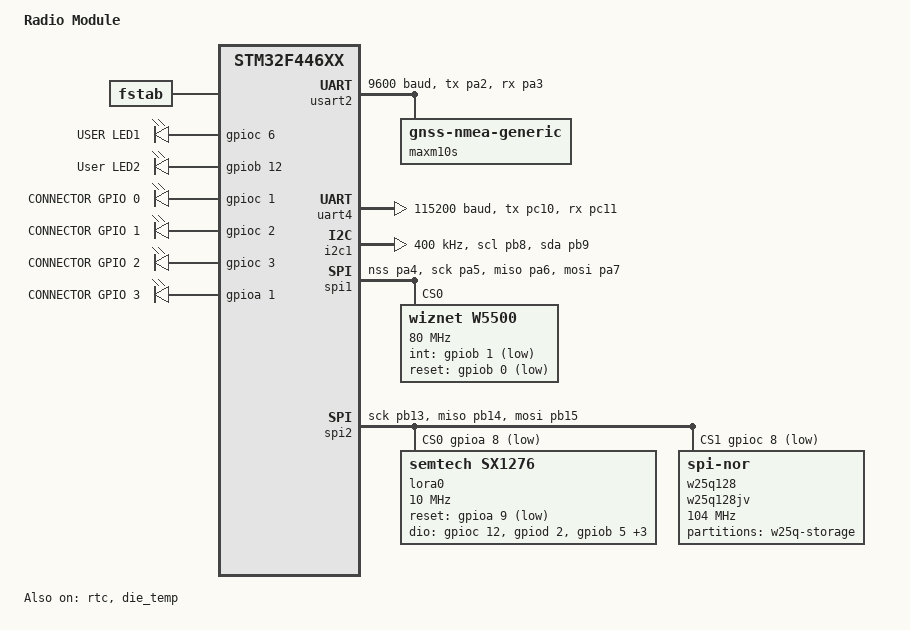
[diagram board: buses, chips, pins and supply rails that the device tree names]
/*
 * Copyright (c) 2018 Philémon Jaermann
 *
 * SPDX-License-Identifier: Apache-2.0
 */

/dts-v1/;
#include <st/f4/stm32f446Xe.dtsi>
#include <st/f4/stm32f446r(c-e)tx-pinctrl.dtsi>
#include <zephyr/dt-bindings/input/input-event-codes.h>
#include "radio_module-pinctrl.dtsi"

/ {
    model = "Radio Module";
    compatible = "st,stm32f446xx";

    chosen {
        zephyr,console = &uart4;
        zephyr,shell-uart = &uart4;

        zephyr,sram = &sram0;
        zephyr,flash = &flash0;

        storage = &w25q128;
        logfs = &lfs1;
        rtc = &rtc;
    };

    fstab {
        compatible = "zephyr,fstab";

        lfs1: lfs1 {
            compatible = "zephyr,fstab,littlefs";
            mount-point = "/lfs";
            partition = <&external_storage_partition>;
            automount;

            read-size = <256>;
            prog-size = <256>;
            cache-size = <512>;
            lookahead-size = <128>;
            block-cycles = <(90 * 1000)>;
        };
    };

    leds: leds {
        compatible = "gpio-leds";

        red_led_1: led_1 {
            gpios = <&gpioc 6 GPIO_ACTIVE_HIGH>;
            label = "USER LED1";
        };

        red_led_2: led_2 {
            gpios = <&gpiob 12 GPIO_ACTIVE_HIGH>;
            label = "User LED2";
        };
    };

    connector: gpios {
        compatible = "gpio-leds";

        gpio_0: gpios_0 {
            gpios = <&gpioc 1 (GPIO_PULL_DOWN | GPIO_ACTIVE_HIGH)>;
            label = "CONNECTOR GPIO 0";
        };

        gpio_1: gpios_1 {
            gpios = <&gpioc 2 (GPIO_PULL_DOWN | GPIO_ACTIVE_HIGH)>;
            label = "CONNECTOR GPIO 1";
        };

        gpio_2: gpios_2 {
            gpios = <&gpioc 3 (GPIO_PULL_DOWN | GPIO_ACTIVE_HIGH)>;
            label = "CONNECTOR GPIO 2";
        };

        gpio_3: gpios_3 {
            gpios = <&gpioa 1 (GPIO_PULL_DOWN | GPIO_ACTIVE_HIGH)>;
            label = "CONNECTOR GPIO 3";
        };
    };

    aliases {
        led0 = &red_led_1;
        led1 = &red_led_2;

        gpio0 = &gpio_0;
        gpio1 = &gpio_1;
        gpio2 = &gpio_2;
        gpio3 = &gpio_3;

        dbguart = &uart4;
        ubxlib-usart2 = &usart2;

        lora = &lora0;
        gnss = &maxm10s;

		rtc = &rtc;
    };
};

&clk_lsi {
    status = "okay";
};

&clk_hsi {
    clock-frequency = <DT_FREQ_M(16)>;
    status = "okay";
};

//&pll {
//	div-m = <8>;
//	mul-n = <384>;
//	div-p = <2>;
//	div-q = <2>;
//	clocks = <&clk_hsi>;
//	status = "okay";
//};

&rcc {
    clocks = <&clk_hsi>;
    clock-frequency = <DT_FREQ_M(16)>;
    ahb-prescaler = <1>;
    apb1-prescaler = <2>;
    apb2-prescaler = <1>;
};

&usart2 {
    pinctrl-0 = <&usart2_tx_pa2 &usart2_rx_pa3>;
    pinctrl-names = "default";
    current-speed = <9600>;
    status = "okay";

    maxm10s: ublox-maxm10s {
        status = "okay";
        compatible = "gnss-nmea-generic";
    };
};

&uart4 {
    pinctrl-0 = <&uart4_tx_pc10 &uart4_rx_pc11>;
    pinctrl-names = "default";
    current-speed = <115200>;
    status = "okay";
};

&i2c1 {
    pinctrl-0 = <&i2c1_scl_pb8 &i2c1_sda_pb9>;
    pinctrl-names = "default";
    status = "okay";
    clock-frequency = <I2C_BITRATE_FAST>;
};

&dma1 {
	status = "okay";
};

&dma2 {
	status = "okay";
};

&spi1 {
    pinctrl-0 = <&spi1_nss_pa4 &spi1_sck_pa5
                 &spi1_miso_pa6 &spi1_mosi_pa7>;
    pinctrl-names = "default";
    status = "okay";


    w5500: w5500@0 {
        compatible = "wiznet,w5500";
        reg = <0x0>;
        spi-max-frequency = <DT_FREQ_M(80)>;
        int-gpios = <&gpiob 1 GPIO_ACTIVE_LOW>;
        reset-gpios = <&gpiob 0 GPIO_ACTIVE_LOW>;
        local-mac-address = [00 01 02 03 04 05];
    };
};


&spi2 {
    pinctrl-0 = <&spi2_sck_pb13 &spi2_miso_pb14 &spi2_mosi_pb15>;
    cs-gpios = <&gpioa 8 GPIO_ACTIVE_LOW
                &gpioc 8 GPIO_ACTIVE_LOW
               >;
    pinctrl-names = "default";
    status = "okay";

    // dma identifier
	// dma stream
	// dma channel
	// config flags
	dmas = <&dma1 4 0 (STM32_DMA_PERIPH_TX | STM32_DMA_PRIORITY_HIGH | STM32_DMA_OFFSET_FIXED_4 | STM32_DMA_PERIPH_8BITS | STM32_DMA_MEM_8BITS) 0x1>,
		   <&dma1 3 0 (STM32_DMA_PERIPH_RX | STM32_DMA_PRIORITY_HIGH | STM32_DMA_OFFSET_FIXED_4 | STM32_DMA_PERIPH_8BITS | STM32_DMA_MEM_8BITS) 0x1>;
	dma-names = "tx", "rx";

    lora0: lora0@0 {
        compatible = "semtech,sx1276";
        reg = <0>;
        reset-gpios = <&gpioa 9 GPIO_ACTIVE_LOW>;
        dio-gpios = <&gpioc 12 (GPIO_PULL_DOWN | GPIO_ACTIVE_HIGH)>,
                    <&gpiod 2 (GPIO_PULL_DOWN | GPIO_ACTIVE_HIGH)>,
                    <&gpiob 5 (GPIO_PULL_DOWN | GPIO_ACTIVE_HIGH)>,
                    <&gpioa 12 (GPIO_PULL_DOWN | GPIO_ACTIVE_HIGH)>,
                    <&gpioa 11 (GPIO_PULL_DOWN | GPIO_ACTIVE_HIGH)>,
                    <&gpioa 10 (GPIO_PULL_DOWN | GPIO_ACTIVE_HIGH)>;
        power-amplifier-output = "pa-boost";
        spi-max-frequency = <DT_FREQ_M(10)>;
        status = "okay";
    };

    w25q128: w25q128jv@1 {
        compatible = "jedec,spi-nor";
        reg = <1>;

        spi-max-frequency = <DT_FREQ_M(104)>;
        size = <DT_SIZE_M(128)>;
        jedec-id = [ef 40 18];

        has-dpd;
        t-enter-dpd = <(3 * 1000)>;
        t-exit-dpd = <(3 * 1000)>;

        partitions {
            compatible = "fixed-partitions";
            #address-cells = <1>;
            #size-cells = <1>;

            external_storage_partition: partition@0 {
                label = "w25q-storage";
                reg = <0 DT_SIZE_M(16)>;
            };
        };
    };
};

&rtc {
    clocks = <&rcc STM32_CLOCK_BUS_APB1 0x10000000>,
             <&rcc STM32_SRC_LSI RTC_SEL(2)>;
    status = "okay";
};

&backup_sram {
    status = "okay";
};

&die_temp {
    status = "okay";
};

&flash0 {
    partitions {
        compatible = "fixed-partitions";
        #address-cells = <1>;
        #size-cells = <1>;

        boot_partition: partition@0 {
            label = "mcuboot";
            reg = <0x00000000 DT_SIZE_K(64)>;
            read-only;
        };

        /*
         * The flash starting at 0x00010000 and ending at
         * 0x0001ffff (sectors 16-31) is reserved for use
         * by the application.
         */
        storage_partition: partition@10000 {
            label = "storage";
            reg = <0x00010000 DT_SIZE_K(64)>;
        };

        slot0_partition: partition@20000 {
            label = "image-0";
            reg = <0x00020000 DT_SIZE_K(128)>;
        };

        slot1_partition: partition@40000 {
            label = "image-1";
            reg = <0x00040000 DT_SIZE_K(128)>;
        };

        scratch_partition: partition@60000 {
            label = "image-scratch";
            reg = <0x00060000 DT_SIZE_K(128)>;
        };
    };
};
